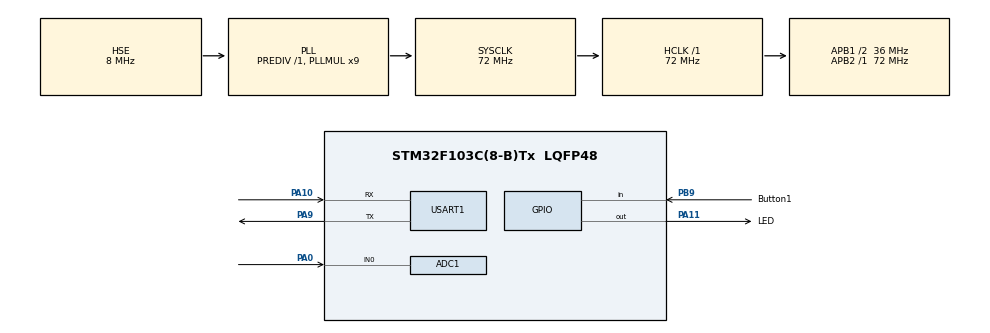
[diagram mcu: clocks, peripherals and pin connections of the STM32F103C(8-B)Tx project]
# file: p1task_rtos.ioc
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ADC1.Channel-0\#ChannelRegularConversion=ADC_CHANNEL_0
ADC1.NbrOfConversionFlag=1
ADC1.Rank-0\#ChannelRegularConversion=1
ADC1.SamplingTime-0\#ChannelRegularConversion=ADC_SAMPLETIME_1CYCLE_5
ADC1.master=1
FREERTOS.Tasks01=defaultTask,24,128,StartDefaultTask,Default,NULL,Dynamic,NULL,NULL;pickButtonTask,24,128,pickButton,Default,NULL,Dynamic,NULL,NULL;getADCTask,32,128,getADC,Default,NULL,Dynamic,NULL,NULL;dispLEDTask,24,128,dispLED,Default,NULL,Dynamic,NULL,NULL;dispUARTTask,24,128,dispUART,Default,NULL,Dynamic,NULL,NULL
FREERTOS.configTOTAL_HEAP_SIZE=3600
FREERTOS.configUSE_NEWLIB_REENTRANT=1
Mcu.Family=STM32F1
Mcu.Name=STM32F103C(8-B)Tx
Mcu.Package=LQFP48
NVIC.PriorityGroup=NVIC_PRIORITYGROUP_4
NVIC.TIM4_IRQn=true\:15\:0\:false\:false\:true\:false\:false\:true\:true
NVIC.TimeBase=TIM4_IRQn
NVIC.TimeBaseIP=TIM4
PA0-WKUP.Signal=ADCx_IN0
PA10.Mode=Asynchronous
PA10.Signal=USART1_RX
PA11.GPIO_Label=LED
PA11.Signal=GPIO_Output
PA9.Mode=Asynchronous
PA9.Signal=USART1_TX
PB9.GPIO_Label=Button1
PB9.Signal=GPIO_Input
PD0-OSC_IN.Mode=HSE-External-Oscillator
PD0-OSC_IN.Signal=RCC_OSC_IN
PD1-OSC_OUT.Mode=HSE-External-Oscillator
PD1-OSC_OUT.Signal=RCC_OSC_OUT
ProjectManager.HeapSize=0x200
ProjectManager.StackSize=0x400
ProjectManager.TargetToolchain=STM32CubeIDE
RCC.ADCPresc=RCC_ADCPCLK2_DIV6
RCC.AHBFreq_Value=72000000
RCC.APB1CLKDivider=RCC_HCLK_DIV2
RCC.APB1Freq_Value=36000000
RCC.APB1TimFreq_Value=72000000
RCC.APB2Freq_Value=72000000
RCC.APB2TimFreq_Value=72000000
RCC.HCLKFreq_Value=72000000
RCC.PLLMUL=RCC_PLL_MUL9
RCC.PLLSourceVirtual=RCC_PLLSOURCE_HSE
RCC.SYSCLKFreq_VALUE=72000000
RCC.SYSCLKSource=RCC_SYSCLKSOURCE_PLLCLK
RCC.USBFreq_Value=72000000
SH.ADCx_IN0.0=ADC1_IN0,IN0
USART1.VirtualMode=VM_ASYNC
VP_FREERTOS_VS_CMSIS_V2.Mode=CMSIS_V2
VP_SYS_VS_ND.Mode=No_Debug
VP_SYS_VS_tim4.Mode=TIM4
board=custom

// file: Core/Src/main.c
/* USER CODE BEGIN Header */
/**
  ******************************************************************************
  * @file           : main.c
  * @brief          : Main program body
  ******************************************************************************
  * @attention
  *
  * Copyright (c) 2024 STMicroelectronics.
  * All rights reserved.
  *
  * This software is licensed under terms that can be found in the LICENSE file
  * in the root directory of this software component.
  * If no LICENSE file comes with this software, it is provided AS-IS.
  *
  ******************************************************************************
  */
/* USER CODE END Header */
#include "main.h"
#include "stdio.h"
#include "cmsis_os.h"

ADC_HandleTypeDef hadc1;

UART_HandleTypeDef huart1;

/* Definitions for defaultTask */
osThreadId_t defaultTaskHandle;
const osThreadAttr_t defaultTask_attributes = {
  .name = "defaultTask",
  .stack_size = 128 * 4,
  .priority = (osPriority_t) osPriorityNormal,
};
/* Definitions for pickButtonTask */
osThreadId_t pickButtonTaskHandle;
const osThreadAttr_t pickButtonTask_attributes = {
  .name = "pickButtonTask",
  .stack_size = 128 * 4,
  .priority = (osPriority_t) osPriorityNormal,
};
/* Definitions for getADCTask */
osThreadId_t getADCTaskHandle;
const osThreadAttr_t getADCTask_attributes = {
  .name = "getADCTask",
  .stack_size = 128 * 4,
  .priority = (osPriority_t) osPriorityAboveNormal,
};
/* Definitions for dispLEDTask */
osThreadId_t dispLEDTaskHandle;
const osThreadAttr_t dispLEDTask_attributes = {
  .name = "dispLEDTask",
  .stack_size = 128 * 4,
  .priority = (osPriority_t) osPriorityNormal,
};
/* Definitions for dispUARTTask */
osThreadId_t dispUARTTaskHandle;
const osThreadAttr_t dispUARTTask_attributes = {
  .name = "dispUARTTask",
  .stack_size = 128 * 4,
  .priority = (osPriority_t) osPriorityNormal,
};
/* USER CODE BEGIN PV */
uint32_t x_val;
uint8_t choice;
char buffer[50];

volatile int button1_pressed = 0;
volatile int led_state = 0;
uint8_t prev_button1_state = 0;
/* USER CODE END PV */

void SystemClock_Config(void);
static void MX_GPIO_Init(void);
static void MX_ADC1_Init(void);
static void MX_USART1_UART_Init(void);
void StartDefaultTask(void *argument);
void pickButton(void *argument);
void getADC(void *argument);
void dispLED(void *argument);
void dispUART(void *argument);

/* USER CODE BEGIN PFP */
void Menu_Display(void);
/* USER CODE END PFP */

int main(void)
{

  /* MCU Configuration--------------------------------------------------------*/

  /* Reset of all peripherals, Initializes the Flash interface and the Systick. */
  HAL_Init();

  /* Configure the system clock */
  SystemClock_Config();

  /* Initialize all configured peripherals */
  MX_GPIO_Init();
  MX_ADC1_Init();
  MX_USART1_UART_Init();

  /* Init scheduler */
  osKernelInitialize();

  /* Create the thread(s) */
  /* creation of defaultTask */
  defaultTaskHandle = osThreadNew(StartDefaultTask, NULL, &defaultTask_attributes);

  /* creation of pickButtonTask */
  pickButtonTaskHandle = osThreadNew(pickButton, NULL, &pickButtonTask_attributes);

  /* creation of getADCTask */
  getADCTaskHandle = osThreadNew(getADC, NULL, &getADCTask_attributes);

  /* creation of dispLEDTask */
  dispLEDTaskHandle = osThreadNew(dispLED, NULL, &dispLEDTask_attributes);

  /* creation of dispUARTTask */
  dispUARTTaskHandle = osThreadNew(dispUART, NULL, &dispUARTTask_attributes);

  /* Start scheduler */
  osKernelStart();

  /* We should never get here as control is now taken by the scheduler */

  /* Infinite loop */
  while (1)
  {

  }
}

void SystemClock_Config(void)
{
  RCC_OscInitTypeDef RCC_OscInitStruct = {0};
  RCC_ClkInitTypeDef RCC_ClkInitStruct = {0};
  RCC_PeriphCLKInitTypeDef PeriphClkInit = {0};

  /** Initializes the RCC Oscillators according to the specified parameters
  * in the RCC_OscInitTypeDef structure.
  */
  RCC_OscInitStruct.OscillatorType = RCC_OSCILLATORTYPE_HSE;
  RCC_OscInitStruct.HSEState = RCC_HSE_ON;
  RCC_OscInitStruct.HSEPredivValue = RCC_HSE_PREDIV_DIV1;
  RCC_OscInitStruct.HSIState = RCC_HSI_ON;
  RCC_OscInitStruct.PLL.PLLState = RCC_PLL_ON;
  RCC_OscInitStruct.PLL.PLLSource = RCC_PLLSOURCE_HSE;
  RCC_OscInitStruct.PLL.PLLMUL = RCC_PLL_MUL9;
  if (HAL_RCC_OscConfig(&RCC_OscInitStruct) != HAL_OK)
  {
    Error_Handler();
  }

  /** Initializes the CPU, AHB and APB buses clocks
  */
  RCC_ClkInitStruct.ClockType = RCC_CLOCKTYPE_HCLK|RCC_CLOCKTYPE_SYSCLK
                              |RCC_CLOCKTYPE_PCLK1|RCC_CLOCKTYPE_PCLK2;
  RCC_ClkInitStruct.SYSCLKSource = RCC_SYSCLKSOURCE_PLLCLK;
  RCC_ClkInitStruct.AHBCLKDivider = RCC_SYSCLK_DIV1;
  RCC_ClkInitStruct.APB1CLKDivider = RCC_HCLK_DIV2;
  RCC_ClkInitStruct.APB2CLKDivider = RCC_HCLK_DIV1;

  if (HAL_RCC_ClockConfig(&RCC_ClkInitStruct, FLASH_LATENCY_2) != HAL_OK)
  {
    Error_Handler();
  }
  PeriphClkInit.PeriphClockSelection = RCC_PERIPHCLK_ADC;
  PeriphClkInit.AdcClockSelection = RCC_ADCPCLK2_DIV6;
  if (HAL_RCCEx_PeriphCLKConfig(&PeriphClkInit) != HAL_OK)
  {
    Error_Handler();
  }
}

static void MX_ADC1_Init(void)
{

  ADC_ChannelConfTypeDef sConfig = {0};

  /** Common config
  */
  hadc1.Instance = ADC1;
  hadc1.Init.ScanConvMode = ADC_SCAN_DISABLE;
  hadc1.Init.ContinuousConvMode = DISABLE;
  hadc1.Init.DiscontinuousConvMode = DISABLE;
  hadc1.Init.ExternalTrigConv = ADC_SOFTWARE_START;
  hadc1.Init.DataAlign = ADC_DATAALIGN_RIGHT;
  hadc1.Init.NbrOfConversion = 1;
  if (HAL_ADC_Init(&hadc1) != HAL_OK)
  {
    Error_Handler();
  }

  /** Configure Regular Channel
  */
  sConfig.Channel = ADC_CHANNEL_0;
  sConfig.Rank = ADC_REGULAR_RANK_1;
  sConfig.SamplingTime = ADC_SAMPLETIME_1CYCLE_5;
  if (HAL_ADC_ConfigChannel(&hadc1, &sConfig) != HAL_OK)
  {
    Error_Handler();
  }

}

static void MX_USART1_UART_Init(void)
{

  huart1.Instance = USART1;
  huart1.Init.BaudRate = 115200;
  huart1.Init.WordLength = UART_WORDLENGTH_8B;
  huart1.Init.StopBits = UART_STOPBITS_1;
  huart1.Init.Parity = UART_PARITY_NONE;
  huart1.Init.Mode = UART_MODE_TX_RX;
  huart1.Init.HwFlowCtl = UART_HWCONTROL_NONE;
  huart1.Init.OverSampling = UART_OVERSAMPLING_16;
  if (HAL_UART_Init(&huart1) != HAL_OK)
  {
    Error_Handler();
  }

}

static void MX_GPIO_Init(void)
{
  GPIO_InitTypeDef GPIO_InitStruct = {0};

  /* GPIO Ports Clock Enable */
  __HAL_RCC_GPIOD_CLK_ENABLE();
  __HAL_RCC_GPIOA_CLK_ENABLE();
  __HAL_RCC_GPIOB_CLK_ENABLE();

  /*Configure GPIO pin Output Level */
  HAL_GPIO_WritePin(LED_GPIO_Port, LED_Pin, GPIO_PIN_RESET);

  /*Configure GPIO pin : LED_Pin */
  GPIO_InitStruct.Pin = LED_Pin;
  GPIO_InitStruct.Mode = GPIO_MODE_OUTPUT_PP;
  GPIO_InitStruct.Pull = GPIO_NOPULL;
  GPIO_InitStruct.Speed = GPIO_SPEED_FREQ_LOW;
  HAL_GPIO_Init(LED_GPIO_Port, &GPIO_InitStruct);

  /*Configure GPIO pin : Button1_Pin */
  GPIO_InitStruct.Pin = Button1_Pin;
  GPIO_InitStruct.Mode = GPIO_MODE_INPUT;
  GPIO_InitStruct.Pull = GPIO_NOPULL;
  HAL_GPIO_Init(Button1_GPIO_Port, &GPIO_InitStruct);

}

/* USER CODE BEGIN 4 */
void Menu_Display(void)
{
	uint8_t menu_1[] = "\r\n1. Voltage monitor read\r\n";
	uint8_t menu_2[] = "2. Re-display Menu\r\n\r\n";

	HAL_UART_Transmit(&huart1, menu_1, sizeof(menu_1), 10);
	HAL_UART_Transmit(&huart1, menu_2, sizeof(menu_2), 10);

}
/* USER CODE END 4 */

void StartDefaultTask(void *argument)
{
  for(;;)
  {
    osDelay(1);
  }
}

void pickButton(void *argument)
{
  /* USER CODE BEGIN pickButton */
  /* Infinite loop */
	for(;;)
	  {

		  if(HAL_GPIO_ReadPin(Button1_GPIO_Port, Button1_Pin) == GPIO_PIN_RESET)
		  {
			  osDelay(300);	// debounce
			  button1_pressed = 1;
			  led_state = 1;
		  }
		  else
		  {
			  button1_pressed = 0;
			  led_state = 0;
		  }
	    osDelay(100);
	  }
  /* USER CODE END pickButton */
}

void getADC(void *argument)
{
  /* USER CODE BEGIN getADC */
  /* Infinite loop */
  for(;;)
  {
	  HAL_ADC_Start(&hadc1);
	  HAL_ADC_PollForConversion(&hadc1, 10);
	  x_val = (HAL_ADC_GetValue(&hadc1));
	  HAL_ADC_Stop(&hadc1);

	  // process ADC values here
	  osDelay(100);
  }
  /* USER CODE END getADC */
}

void dispLED(void *argument)
{
  /* USER CODE BEGIN dispLED */
  /* Infinite loop */
	static uint8_t prev_led_state = 0xFF; // Initialize with an invalid state

	for(;;)
	{
		if (led_state != prev_led_state) {
			if (led_state) {
				HAL_GPIO_WritePin(GPIOA, GPIO_PIN_11, GPIO_PIN_SET); // LED ON
			} else {
				HAL_GPIO_WritePin(GPIOA, GPIO_PIN_11, GPIO_PIN_RESET); // LED OFF
			}
	      prev_led_state = led_state; // Update the previous state
	    }
	    osDelay(100);
	  }
  /* USER CODE END dispLED */
}

void dispUART(void *argument)
{
  /* USER CODE BEGIN dispUART */
	Menu_Display();
  /* Infinite loop */
  for(;;)
  {
	  // select user input
	  if (HAL_UART_Receive(&huart1, &choice, sizeof(choice), 10) == HAL_OK)
	  {
		  switch (choice) {
		  case '1':
			  //HAL_UART_Transmit(&huart1, (uint8_t*)"2 pressed\r\n", sizeof("1 pressed\r\n"), 10);
			  sprintf(buffer, "Voltage = %lu\r\n",x_val);
			  HAL_UART_Transmit(&huart1, (uint8_t*)buffer, sizeof(buffer), 10);
			  break;
		  case '2':
			  Menu_Display();
			  break;
	  	  default:
	  		  break;
		  }
	  	}

	  	if(button1_pressed)
	  	{
	  		HAL_UART_Transmit(&huart1, (uint8_t*)"Button1 pressed\r\n", sizeof("Button1 pressed\r\n"), 10);
	  		button1_pressed = 0;
	  	} else{
            HAL_UART_Transmit(&huart1, (uint8_t*)"Button1 not pressed\r\n", sizeof("Button1 not pressed\r\n"), 10);
        }
        prev_button1_state = button1_pressed;

        if(led_state)
	  	{
	  		HAL_UART_Transmit(&huart1, (uint8_t*)"LED ON\r\n", sizeof("LED ON\r\n"), 10);
	  	} else{
	  		HAL_UART_Transmit(&huart1, (uint8_t*)"LED OFF\r\n", sizeof("LED OFF\r\n"), 10);
	  	}

	 osDelay(1000);
  }
  /* USER CODE END dispUART */
}

void HAL_TIM_PeriodElapsedCallback(TIM_HandleTypeDef *htim)
{
  if (htim->Instance == TIM4) {
    HAL_IncTick();
  }
}

void Error_Handler(void)
{
  __disable_irq();
  while (1)
  {
  }
}
